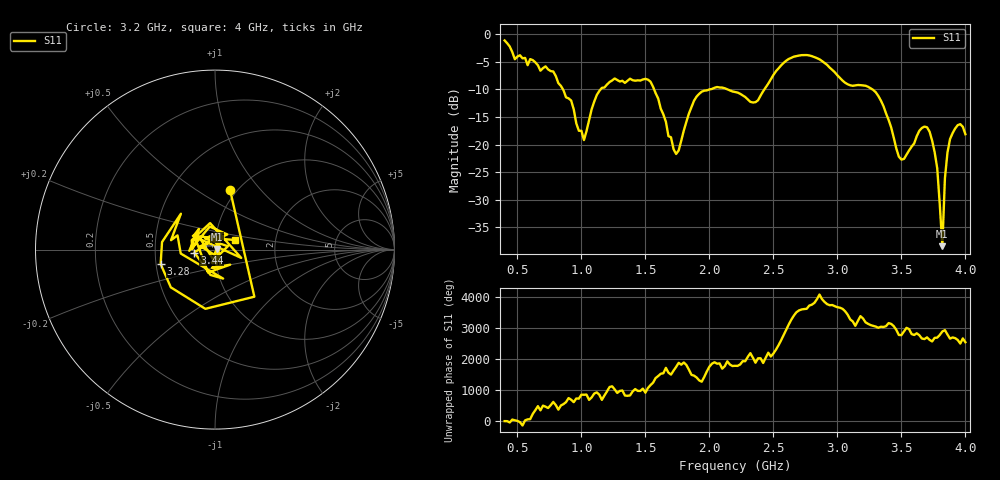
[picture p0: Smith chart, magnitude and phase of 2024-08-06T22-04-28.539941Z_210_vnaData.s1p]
!Created with skrf (http://scikit-rf.org).
# Hz S RI R 50.0
!freq ReS11 ImS11
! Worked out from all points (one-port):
!   181 points, 400 MHz to 4 GHz, reference 50 ohm
!   lowest |S11| = -38.4 dB at 3.82 GHz (marker M1), VSWR 1.02, Z = 51.2 + j0.305 ohm
!   |S11| at or under -10 dB: 856.5 MHz to 1.149 GHz (293 MHz wide, 29.2 % of centre); 1.568 GHz to 1.999 GHz (431.1 MHz wide, 24.2 % of centre); 3.274 GHz to end of sweep (the widest 3 of 4)
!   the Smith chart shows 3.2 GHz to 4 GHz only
!   S11 on the Smith chart (normalised r, x): 3.2 GHz: 0.93, +0.70; 3.28 GHz: 0.53, -0.09; 3.44 GHz: 0.79, -0.03; 4 GHz: 1.25, +0.13
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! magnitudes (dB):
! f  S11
! 400 MHz  -1.1
! 780 MHz  -6.7
! 860 MHz  -10.1
! 1.02 GHz  -19.2
! 1.12 GHz  -11.0
! 1.3 GHz  -8.6
! 1.54 GHz  -8.6
! 1.72 GHz  -20.8
! 1.76 GHz  -21.0
! 1.92 GHz  -10.8
! 2.2 GHz  -10.5
! 2.36 GHz  -12.3
! 2.66 GHz  -4.1
! 2.86 GHz  -4.5
! 3.1 GHz  -9.2
! 3.2 GHz  -9.3
! 3.28 GHz  -10.1
! 3.44 GHz  -18.7
! 3.5 GHz  -22.7
! 3.56 GHz  -21.0
! 3.66 GHz  -17.0
! 3.72 GHz  -17.6
! 3.78 GHz  -24.3
! 3.82 GHz  -38.4
! 3.84 GHz  -26.1
! 3.88 GHz  -19.0
! 3.96 GHz  -16.3
! 4 GHz  -18.1
